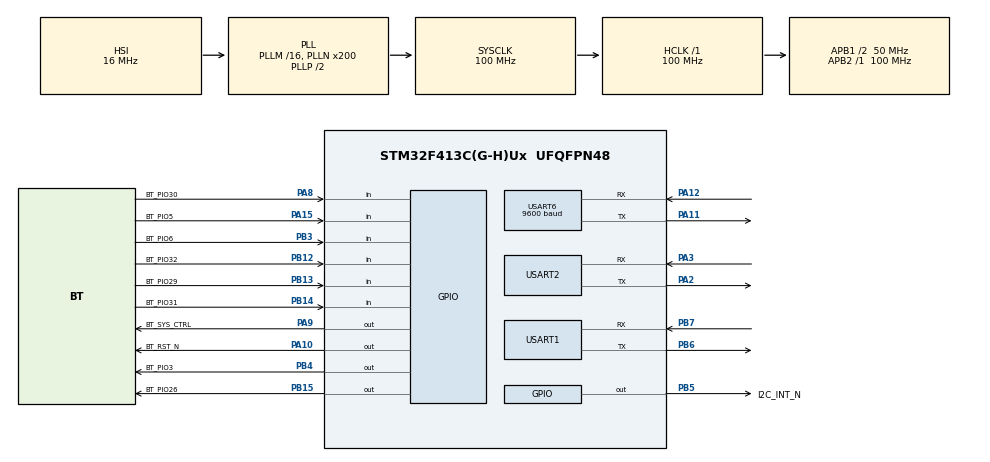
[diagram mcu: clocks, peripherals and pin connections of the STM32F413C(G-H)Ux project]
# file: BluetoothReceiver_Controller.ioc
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IWDG.Prescaler=IWDG_PRESCALER_128
Mcu.Family=STM32F4
Mcu.Name=STM32F413C(G-H)Ux
Mcu.Package=UFQFPN48
NVIC.PriorityGroup=NVIC_PRIORITYGROUP_4
NVIC.USART1_IRQn=true\:3\:0\:true\:false\:true\:true\:true\:true
NVIC.USART2_IRQn=true\:6\:0\:true\:false\:true\:true\:true\:true
NVIC.USART6_IRQn=true\:1\:0\:true\:false\:true\:true\:true\:true
PA10.GPIO_Label=BT_RST_N
PA10.GPIO_ModeDefaultOutputPP=GPIO_MODE_OUTPUT_OD
PA10.GPIO_PuPd=GPIO_NOPULL
PA10.PinState=GPIO_PIN_SET
PA10.Signal=GPIO_Output
PA11.Mode=Asynchronous
PA11.Signal=USART6_TX
PA12.Mode=Asynchronous
PA12.Signal=USART6_RX
PA13.Mode=Serial_Wire
PA13.Signal=SYS_JTMS-SWDIO
PA14.Mode=Serial_Wire
PA14.Signal=SYS_JTCK-SWCLK
PA15.GPIO_Label=BT_PIO5
PA15.GPIO_PuPd=GPIO_PULLDOWN
PA15.Signal=GPIO_Input
PA2.Mode=Asynchronous
PA2.Signal=USART2_TX
PA3.Mode=Asynchronous
PA3.Signal=USART2_RX
PA8.GPIO_Label=BT_PIO30
PA8.GPIO_PuPd=GPIO_PULLDOWN
PA8.Signal=GPIO_Input
PA9.GPIO_Label=BT_SYS_CTRL
PA9.Signal=GPIO_Output
PB12.GPIO_Label=BT_PIO32
PB12.GPIO_PuPd=GPIO_PULLDOWN
PB12.Signal=GPIO_Input
PB13.GPIO_Label=BT_PIO29
PB13.GPIO_PuPd=GPIO_PULLDOWN
PB13.Signal=GPIO_Input
PB14.GPIO_Label=BT_PIO31
PB14.GPIO_PuPd=GPIO_PULLDOWN
PB14.Signal=GPIO_Input
PB15.GPIO_Label=BT_PIO26
PB15.Signal=GPIO_Output
PB3.GPIO_Label=BT_PIO6
PB3.GPIO_PuPd=GPIO_PULLDOWN
PB3.Signal=GPIO_Input
PB4.GPIO_Label=BT_PIO3
PB4.Signal=GPIO_Output
PB5.GPIO_Label=I2C_INT_N
PB5.GPIO_ModeDefaultOutputPP=GPIO_MODE_OUTPUT_OD
PB5.GPIO_PuPd=GPIO_NOPULL
PB5.PinState=GPIO_PIN_SET
PB5.Signal=GPIO_Output
PB6.Mode=Asynchronous
PB6.Signal=USART1_TX
PB7.Mode=Asynchronous
PB7.Signal=USART1_RX
ProjectManager.HeapSize=0x4000
ProjectManager.StackSize=0x400
ProjectManager.TargetToolchain=STM32CubeIDE
RCC.AHBFreq_Value=100000000
RCC.APB1CLKDivider=RCC_HCLK_DIV2
RCC.APB1Freq_Value=50000000
RCC.APB1TimFreq_Value=100000000
RCC.APB2Freq_Value=100000000
RCC.APB2TimFreq_Value=100000000
RCC.CortexFreq_Value=100000000
RCC.HCLKFreq_Value=100000000
RCC.PLLN=200
RCC.SYSCLKFreq_VALUE=100000000
RCC.SYSCLKSource=RCC_SYSCLKSOURCE_PLLCLK
RCC.USBFreq_Value=100000000
RCC.VCOOutputFreq_Value=200000000
USART1.VirtualMode=VM_ASYNC
USART2.VirtualMode=VM_ASYNC
USART6.BaudRate=9600
USART6.VirtualMode=VM_ASYNC
VP_IWDG_VS_IWDG.Mode=IWDG_Activate
board=custom

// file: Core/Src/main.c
/* USER CODE BEGIN Header */
/**
  ******************************************************************************
  * @file           : main.c
  * @brief          : Main program body
  ******************************************************************************
  * @attention
  *
  * Copyright (c) 2024 STMicroelectronics.
  * All rights reserved.
  *
  * This software is licensed under terms that can be found in the LICENSE file
  * in the root directory of this software component.
  * If no LICENSE file comes with this software, it is provided AS-IS.
  *
  ******************************************************************************
  */
/* USER CODE END Header */
#include "main.h"

/* USER CODE BEGIN Includes */
#include "retarget.h"
#include "bt_driver.h"
#include "uart_host.h"
/* USER CODE END Includes */

/* USER CODE BEGIN PD */
#undef UART_DIRECT_FORWARD
//#define UART_DIRECT_FORWARD
/* USER CODE END PD */

IWDG_HandleTypeDef hiwdg;

UART_HandleTypeDef huart1;
UART_HandleTypeDef huart2;
UART_HandleTypeDef huart6;

void SystemClock_Config(void);
static void MX_GPIO_Init(void);
static void MX_USART2_UART_Init(void);
static void MX_USART6_UART_Init(void);
static void MX_USART1_UART_Init(void);
static void MX_IWDG_Init(void);

/* USER CODE BEGIN 0 */

#ifdef UART_DIRECT_FORWARD
static uint8_t debug_to_module[4096];
static uint8_t debug_to_module_half = 0;
static uint8_t module_to_debug[4096];
static uint8_t module_to_debug_half = 0;

void HAL_UARTEx_RxEventCallback(UART_HandleTypeDef* huart, uint16_t Size) {
  if (huart == &huart1) return;

  uint8_t* buf = (huart == &huart2) ? debug_to_module : module_to_debug;
  uint8_t* half_p = (huart == &huart2) ? &debug_to_module_half : &module_to_debug_half;
  UART_HandleTypeDef* huart_other = (huart == &huart2) ? &huart6 : &huart2;
  uint8_t* read_p = buf + ((*half_p) * 2048);
  *half_p = 1 - *half_p;

  //set up to receive next
  HAL_UARTEx_ReceiveToIdle_IT(huart, buf + ((*half_p) * 2048), 2048);

  //transmit on other interface
  HAL_UART_Transmit_IT(huart_other, read_p, Size);
}
#else
void HAL_UARTEx_RxEventCallback(UART_HandleTypeDef* huart, uint16_t Size) {
  if (huart == &huart1) {
    UARTH_UARTEx_RxEventCallback(huart, Size);
  } else if (huart == &huart6) {
    BT_UARTEx_RxEventCallback(huart, Size);
  }
}

void HAL_UART_TxCpltCallback(UART_HandleTypeDef* huart) {
  if (huart == &huart1) {
    UARTH_UART_TxCpltCallback(huart);
  } else if (huart == &huart2) {
    Retarget_UART_TxCpltCallback(huart);
  } else if (huart == &huart6) {
    BT_UART_TxCpltCallback(huart);
  }
}

void HAL_UART_ErrorCallback(UART_HandleTypeDef *huart) {
  if (huart == &huart1) {
    UARTH_UART_ErrorCallback(huart);
  } else if (huart == &huart6) {
    BT_UART_ErrorCallback(huart);
  }
}
#endif

static __always_inline void _RefreshWatchdogs() {
  //HAL_WWDG_Refresh(&hwwdg);
  HAL_IWDG_Refresh(&hiwdg);
}

/* USER CODE END 0 */

int main(void)
{

  /* MCU Configuration--------------------------------------------------------*/

  /* Reset of all peripherals, Initializes the Flash interface and the Systick. */
  HAL_Init();

  /* Configure the system clock */
  SystemClock_Config();

  /* Initialize all configured peripherals */
  MX_GPIO_Init();
  MX_USART2_UART_Init();
  MX_USART6_UART_Init();
  MX_USART1_UART_Init();
  MX_IWDG_Init();
  /* USER CODE BEGIN 2 */

  _RefreshWatchdogs();

#ifdef UART_DIRECT_FORWARD
  HAL_UARTEx_ReceiveToIdle_IT(&huart6, module_to_debug, 2048);
  HAL_UARTEx_ReceiveToIdle_IT(&huart2, debug_to_module, 2048);
  while (1) _RefreshWatchdogs();
#endif

  RetargetInit(&huart2);

  DEBUG_PRINTF("### MCU RESET ###\n");

  if (UARTH_Init() == HAL_OK) {
    DEBUG_PRINTF("Host UART init started\n");
  } else {
    DEBUG_PRINTF("*** Host UART init failed!\n");
    HAL_Delay(100);
    Error_Handler();
  }

  _RefreshWatchdogs();

  bt_driver_state.ota_upgrade_enabled = false; //start with no upgrade capability
  if (BT_Init() == HAL_OK) {
    DEBUG_PRINTF("BT driver init started\n");
  } else {
    DEBUG_PRINTF("*** BT driver init failed!\n");
    HAL_Delay(100);
    Error_Handler();
  }

  _RefreshWatchdogs();

  //notify UART host of MCU reset
  UARTH_Notification_Event_MCUReset();

  _RefreshWatchdogs();

  /* USER CODE END 2 */

  /* Infinite loop */
  /* USER CODE BEGIN WHILE */
  //iteration counter - may eventually overflow, but should be fine if it happens
  uint32_t loop_counter = 0;
  while (1)
  {
    /* USER CODE END WHILE */

    /* USER CODE BEGIN 3 */
    uint32_t iteration_start_tick = HAL_GetTick();

    BT_Update(loop_counter);
    UARTH_Update(loop_counter);

    loop_counter++;

    _RefreshWatchdogs();
    while((HAL_GetTick() - iteration_start_tick) < MAIN_LOOP_PERIOD_MS); //replaces HAL_Delay() to not wait any unnecessary extra ticks
  }
  /* USER CODE END 3 */
}

void SystemClock_Config(void)
{
  RCC_OscInitTypeDef RCC_OscInitStruct = {0};
  RCC_ClkInitTypeDef RCC_ClkInitStruct = {0};

  /** Configure the main internal regulator output voltage
  */
  __HAL_RCC_PWR_CLK_ENABLE();
  __HAL_PWR_VOLTAGESCALING_CONFIG(PWR_REGULATOR_VOLTAGE_SCALE1);

  /** Initializes the RCC Oscillators according to the specified parameters
  * in the RCC_OscInitTypeDef structure.
  */
  RCC_OscInitStruct.OscillatorType = RCC_OSCILLATORTYPE_HSI|RCC_OSCILLATORTYPE_LSI;
  RCC_OscInitStruct.HSIState = RCC_HSI_ON;
  RCC_OscInitStruct.HSICalibrationValue = RCC_HSICALIBRATION_DEFAULT;
  RCC_OscInitStruct.LSIState = RCC_LSI_ON;
  RCC_OscInitStruct.PLL.PLLState = RCC_PLL_ON;
  RCC_OscInitStruct.PLL.PLLSource = RCC_PLLSOURCE_HSI;
  RCC_OscInitStruct.PLL.PLLM = 16;
  RCC_OscInitStruct.PLL.PLLN = 200;
  RCC_OscInitStruct.PLL.PLLP = RCC_PLLP_DIV2;
  RCC_OscInitStruct.PLL.PLLQ = 2;
  RCC_OscInitStruct.PLL.PLLR = 2;
  if (HAL_RCC_OscConfig(&RCC_OscInitStruct) != HAL_OK)
  {
    Error_Handler();
  }

  /** Initializes the CPU, AHB and APB buses clocks
  */
  RCC_ClkInitStruct.ClockType = RCC_CLOCKTYPE_HCLK|RCC_CLOCKTYPE_SYSCLK
                              |RCC_CLOCKTYPE_PCLK1|RCC_CLOCKTYPE_PCLK2;
  RCC_ClkInitStruct.SYSCLKSource = RCC_SYSCLKSOURCE_PLLCLK;
  RCC_ClkInitStruct.AHBCLKDivider = RCC_SYSCLK_DIV1;
  RCC_ClkInitStruct.APB1CLKDivider = RCC_HCLK_DIV2;
  RCC_ClkInitStruct.APB2CLKDivider = RCC_HCLK_DIV1;

  if (HAL_RCC_ClockConfig(&RCC_ClkInitStruct, FLASH_LATENCY_3) != HAL_OK)
  {
    Error_Handler();
  }
}

static void MX_IWDG_Init(void)
{

  hiwdg.Instance = IWDG;
  hiwdg.Init.Prescaler = IWDG_PRESCALER_128;
  hiwdg.Init.Reload = 4095;
  if (HAL_IWDG_Init(&hiwdg) != HAL_OK)
  {
    Error_Handler();
  }

}

static void MX_USART1_UART_Init(void)
{

  huart1.Instance = USART1;
  huart1.Init.BaudRate = 115200;
  huart1.Init.WordLength = UART_WORDLENGTH_8B;
  huart1.Init.StopBits = UART_STOPBITS_1;
  huart1.Init.Parity = UART_PARITY_NONE;
  huart1.Init.Mode = UART_MODE_TX_RX;
  huart1.Init.HwFlowCtl = UART_HWCONTROL_NONE;
  huart1.Init.OverSampling = UART_OVERSAMPLING_16;
  if (HAL_UART_Init(&huart1) != HAL_OK)
  {
    Error_Handler();
  }

}

static void MX_USART2_UART_Init(void)
{

  huart2.Instance = USART2;
  huart2.Init.BaudRate = 115200;
  huart2.Init.WordLength = UART_WORDLENGTH_8B;
  huart2.Init.StopBits = UART_STOPBITS_1;
  huart2.Init.Parity = UART_PARITY_NONE;
  huart2.Init.Mode = UART_MODE_TX_RX;
  huart2.Init.HwFlowCtl = UART_HWCONTROL_NONE;
  huart2.Init.OverSampling = UART_OVERSAMPLING_16;
  if (HAL_UART_Init(&huart2) != HAL_OK)
  {
    Error_Handler();
  }

}

static void MX_USART6_UART_Init(void)
{

  huart6.Instance = USART6;
  huart6.Init.BaudRate = 9600;
  huart6.Init.WordLength = UART_WORDLENGTH_8B;
  huart6.Init.StopBits = UART_STOPBITS_1;
  huart6.Init.Parity = UART_PARITY_NONE;
  huart6.Init.Mode = UART_MODE_TX_RX;
  huart6.Init.HwFlowCtl = UART_HWCONTROL_NONE;
  huart6.Init.OverSampling = UART_OVERSAMPLING_16;
  if (HAL_UART_Init(&huart6) != HAL_OK)
  {
    Error_Handler();
  }

}

static void MX_GPIO_Init(void)
{
  GPIO_InitTypeDef GPIO_InitStruct = {0};

  /* GPIO Ports Clock Enable */
  __HAL_RCC_GPIOA_CLK_ENABLE();
  __HAL_RCC_GPIOB_CLK_ENABLE();

  /*Configure GPIO pin Output Level */
  HAL_GPIO_WritePin(GPIOB, BT_PIO26_Pin|BT_PIO3_Pin, GPIO_PIN_RESET);

  /*Configure GPIO pin Output Level */
  HAL_GPIO_WritePin(BT_SYS_CTRL_GPIO_Port, BT_SYS_CTRL_Pin, GPIO_PIN_RESET);

  /*Configure GPIO pin Output Level */
  HAL_GPIO_WritePin(BT_RST_N_GPIO_Port, BT_RST_N_Pin, GPIO_PIN_SET);

  /*Configure GPIO pin Output Level */
  HAL_GPIO_WritePin(I2C_INT_N_GPIO_Port, I2C_INT_N_Pin, GPIO_PIN_SET);

  /*Configure GPIO pins : BT_PIO32_Pin BT_PIO29_Pin BT_PIO31_Pin BT_PIO6_Pin */
  GPIO_InitStruct.Pin = BT_PIO32_Pin|BT_PIO29_Pin|BT_PIO31_Pin|BT_PIO6_Pin;
  GPIO_InitStruct.Mode = GPIO_MODE_INPUT;
  GPIO_InitStruct.Pull = GPIO_PULLDOWN;
  HAL_GPIO_Init(GPIOB, &GPIO_InitStruct);

  /*Configure GPIO pins : BT_PIO26_Pin BT_PIO3_Pin */
  GPIO_InitStruct.Pin = BT_PIO26_Pin|BT_PIO3_Pin;
  GPIO_InitStruct.Mode = GPIO_MODE_OUTPUT_PP;
  GPIO_InitStruct.Pull = GPIO_NOPULL;
  GPIO_InitStruct.Speed = GPIO_SPEED_FREQ_LOW;
  HAL_GPIO_Init(GPIOB, &GPIO_InitStruct);

  /*Configure GPIO pins : BT_PIO30_Pin BT_PIO5_Pin */
  GPIO_InitStruct.Pin = BT_PIO30_Pin|BT_PIO5_Pin;
  GPIO_InitStruct.Mode = GPIO_MODE_INPUT;
  GPIO_InitStruct.Pull = GPIO_PULLDOWN;
  HAL_GPIO_Init(GPIOA, &GPIO_InitStruct);

  /*Configure GPIO pin : BT_SYS_CTRL_Pin */
  GPIO_InitStruct.Pin = BT_SYS_CTRL_Pin;
  GPIO_InitStruct.Mode = GPIO_MODE_OUTPUT_PP;
  GPIO_InitStruct.Pull = GPIO_NOPULL;
  GPIO_InitStruct.Speed = GPIO_SPEED_FREQ_LOW;
  HAL_GPIO_Init(BT_SYS_CTRL_GPIO_Port, &GPIO_InitStruct);

  /*Configure GPIO pin : BT_RST_N_Pin */
  GPIO_InitStruct.Pin = BT_RST_N_Pin;
  GPIO_InitStruct.Mode = GPIO_MODE_OUTPUT_OD;
  GPIO_InitStruct.Pull = GPIO_NOPULL;
  GPIO_InitStruct.Speed = GPIO_SPEED_FREQ_LOW;
  HAL_GPIO_Init(BT_RST_N_GPIO_Port, &GPIO_InitStruct);

  /*Configure GPIO pin : I2C_INT_N_Pin */
  GPIO_InitStruct.Pin = I2C_INT_N_Pin;
  GPIO_InitStruct.Mode = GPIO_MODE_OUTPUT_OD;
  GPIO_InitStruct.Pull = GPIO_NOPULL;
  GPIO_InitStruct.Speed = GPIO_SPEED_FREQ_LOW;
  HAL_GPIO_Init(I2C_INT_N_GPIO_Port, &GPIO_InitStruct);

}

void Error_Handler(void)
{
  __disable_irq();
  while (1)
  {
  }
}
